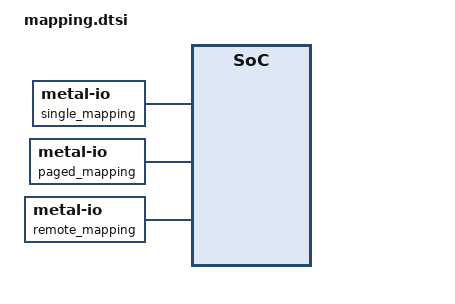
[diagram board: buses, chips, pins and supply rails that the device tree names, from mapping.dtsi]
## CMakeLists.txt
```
# Copyright 2026 Arm Limited and/or its affiliates <open-source-office@arm.com>
# SPDX-License-Identifier: Apache-2.0

cmake_minimum_required(VERSION 3.20.0)
find_package(Zephyr REQUIRED HINTS $ENV{ZEPHYR_BASE})
project(ipc_static_vrings)

target_include_directories(
  app PRIVATE "${ZEPHYR_BASE}/subsys/ipc/ipc_service/backends")
target_sources(app PRIVATE src/main.c src/mbox.c)
```

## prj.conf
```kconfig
# Copyright 2026 Arm Limited and/or its affiliates <open-source-office@arm.com>
# SPDX-License-Identifier: Apache-2.0

CONFIG_ZTEST=y
CONFIG_IPC_SERVICE=y
CONFIG_MBOX=y
CONFIG_IPC_SERVICE_STATIC_VRINGS_MEM_ALIGNMENT=64
CONFIG_HEAP_MEM_POOL_SIZE=16384
CONFIG_MAIN_STACK_SIZE=4096
```

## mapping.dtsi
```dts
/*
 * Copyright 2026 Arm Limited and/or its affiliates <open-source-office@arm.com>
 * SPDX-License-Identifier: Apache-2.0
 */

/ {
	test_mbox: mailbox {
		compatible = "vnd,mbox";
		#mbox-cells = <1>;
	};

	single_mapping: single-mapping {
		compatible = "zephyr,metal-io";
		region = <&mapped_memory>;
		/* Same cell as 0x90000000; must not sign-extend on 64-bit targets. */
		physmap = <(-1879048192)>;
	};

	paged_mapping: paged-mapping {
		compatible = "zephyr,metal-io";
		region = <&paged_memory>;
		physmap = <0x90000000 0xa0000000>;
		page-shift = <12>;
		mem-flags = <0x1234>;
	};

	remote_mapping: remote-mapping {
		compatible = "zephyr,metal-io";
		region = <&remote_memory>;
		physmap = <0x90000000>;
	};

	ordinary: ipc-ordinary {
		compatible = "zephyr,ipc-openamp-static-vrings";
		role = "host";
		memory-region = <&ordinary_memory>;
		mboxes = <&test_mbox 0>, <&test_mbox 1>;
		mbox-names = "tx", "rx";
	};

	mapped: ipc-mapped {
		compatible = "zephyr,ipc-openamp-static-vrings";
		role = "host";
		memory-region = <&single_mapping>;
		mboxes = <&test_mbox 2>, <&test_mbox 3>;
		mbox-names = "tx", "rx";
	};

	paged: ipc-paged {
		compatible = "zephyr,ipc-openamp-static-vrings";
		role = "host";
		memory-region = <&paged_mapping>;
		mboxes = <&test_mbox 4>, <&test_mbox 5>;
		mbox-names = "tx", "rx";
	};

	remote: ipc-remote {
		compatible = "zephyr,ipc-openamp-static-vrings";
		role = "remote";
		memory-region = <&remote_mapping>;
		mboxes = <&test_mbox 6>, <&test_mbox 7>;
		mbox-names = "tx", "rx";
	};
};
```

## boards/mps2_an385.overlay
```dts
/*
 * Copyright 2026 Arm Limited and/or its affiliates <open-source-office@arm.com>
 * SPDX-License-Identifier: Apache-2.0
 */

/ {
	/* Keep test storage below the temporary boot stack at the top of SRAM. */
	reserved-memory {
		ranges;
		#address-cells = <1>;
		#size-cells = <1>;

		ordinary_memory: memory@203f0000 {
			reg = <0x203f0000 0x2000>;
		};

		mapped_memory: memory@203f2000 {
			reg = <0x203f2000 0x2000>;
		};

		paged_memory: memory@203f4000 {
			reg = <0x203f4000 0x2000>;
		};

		remote_memory: memory@203f6000 {
			reg = <0x203f6000 0x2000>;
		};
	};
};

#include "../mapping.dtsi"
```

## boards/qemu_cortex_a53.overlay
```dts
/*
 * Copyright 2026 Arm Limited and/or its affiliates <open-source-office@arm.com>
 * SPDX-License-Identifier: Apache-2.0
 */

#include <zephyr/dt-bindings/memory-attr/memory-attr-arm64.h>

/ {
	/* Keep test storage below the temporary boot stack at the top of SRAM. */
	reserved-memory {
		ordinary_memory: memory@47ff0000 {
			compatible = "zephyr,memory-region";
			reg = <0 0x47ff0000 0 0x2000>;
			zephyr,memory-region = "IPC_ORDINARY";
			zephyr,memory-attr = <DT_MEM_ARM64_MMU_NORMAL_NC>;
		};

		mapped_memory: memory@47ff2000 {
			compatible = "zephyr,memory-region";
			reg = <0 0x47ff2000 0 0x2000>;
			zephyr,memory-region = "IPC_MAPPED";
			zephyr,memory-attr = <DT_MEM_ARM64_MMU_NORMAL_NC>;
		};

		paged_memory: memory@47ff4000 {
			compatible = "zephyr,memory-region";
			reg = <0 0x47ff4000 0 0x2000>;
			zephyr,memory-region = "IPC_PAGED";
			zephyr,memory-attr = <DT_MEM_ARM64_MMU_NORMAL_NC>;
		};

		remote_memory: memory@47ff6000 {
			compatible = "zephyr,memory-region";
			reg = <0 0x47ff6000 0 0x2000>;
			zephyr,memory-region = "IPC_REMOTE";
			zephyr,memory-attr = <DT_MEM_ARM64_MMU_NORMAL_NC>;
		};
	};
};

#include "../mapping.dtsi"
```

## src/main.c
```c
/*
 * Copyright 2026 Arm Limited and/or its affiliates <open-source-office@arm.com>
 * SPDX-License-Identifier: Apache-2.0
 */

#include <zephyr/init.h>
#include <zephyr/ipc/ipc_static_vrings.h>
#include <zephyr/ztest.h>

#include "ipc_rpmsg_static_vrings.h"

#define TEST_REGION_SIZE DT_REG_SIZE(DT_NODELABEL(ordinary_memory))

static const struct metal_io_dt_spec single = METAL_IO_DT_SPEC_GET(DT_NODELABEL(single_mapping));
static const struct metal_io_dt_spec paged = METAL_IO_DT_SPEC_GET(DT_NODELABEL(paged_mapping));
static const struct metal_io_dt_spec remote = METAL_IO_DT_SPEC_GET(DT_NODELABEL(remote_mapping));

static const uintptr_t region_addrs[] = {
	DT_REG_ADDR(DT_NODELABEL(ordinary_memory)),
	DT_REG_ADDR(DT_NODELABEL(mapped_memory)),
	DT_REG_ADDR(DT_NODELABEL(paged_memory)),
	DT_REG_ADDR(DT_NODELABEL(remote_memory)),
};

static int seed_status(void)
{
	for (size_t i = 0; i < ARRAY_SIZE(region_addrs); i++) {
		memset((void *)region_addrs[i], 0xa5, TEST_REGION_SIZE);
	}
	return 0;
}

/* Run before shared_memory_prepare(), including when reset is disabled. */
SYS_INIT(seed_status, PRE_KERNEL_1, 0);

static void *check_reset(void)
{
	for (size_t i = 0; i < ARRAY_SIZE(region_addrs); i++) {
		const uint8_t *memory = (const uint8_t *)region_addrs[i];
		bool reset = IS_ENABLED(CONFIG_IPC_SERVICE_BACKEND_RPMSG_SHMEM_RESET) && i < 3;

		for (size_t offset = 0; offset < TEST_REGION_SIZE; offset++) {
			uint8_t expected = reset && offset < VDEV_STATUS_SIZE ? 0 : 0xa5;

			zassert_equal(memory[offset], expected, "region %zu offset %zu", i, offset);
		}
	}
	return NULL;
}

static void check_descriptors(const struct device *dev, uintptr_t local,
			      const struct metal_io_dt_spec *mapping)
{
	unsigned int count = optimal_num_desc(TEST_REGION_SIZE, RPMSG_BUFFER_SIZE);
	uintptr_t buffers = local + VDEV_STATUS_SIZE;
	uintptr_t rx = buffers + VRING_COUNT * vq_ring_size(count, RPMSG_BUFFER_SIZE);
	uintptr_t tx = ROUND_UP(rx + vring_size(count, MEM_ALIGNMENT), MEM_ALIGNMENT);
	const struct vring_desc *desc = (const struct vring_desc *)tx;

	zassert_true(device_is_ready(dev));
	/* Reopening also checks that libmetal does not retain temporary physmaps. */
	for (size_t attempt = 0; attempt < 2; attempt++) {
		memset((void *)local, 0, TEST_REGION_SIZE);
		zassert_ok(ipc_service_open_instance(dev));
		for (size_t i = 0; i < count; i++) {
			size_t offset = VDEV_STATUS_SIZE + i * RPMSG_BUFFER_SIZE;
			metal_phys_addr_t expected = local + offset;

			if (mapping != NULL) {
				if (mapping->page_shift == -1) {
					expected = mapping->phys_map[0] + offset;
				} else {
					expected =
						mapping->phys_map[offset >> 12] + (offset & 0xfff);
				}
			}
			zassert_equal(desc[i].addr, expected, "descriptor %zu", i);
			zassert_equal(desc[i].len, RPMSG_BUFFER_SIZE);
		}
		zassert_ok(ipc_service_close_instance(dev));
	}
}

ZTEST(static_vrings, test_ordinary_backend)
{
	check_descriptors(DEVICE_DT_GET(DT_NODELABEL(ordinary)), region_addrs[0], NULL);
}

ZTEST(static_vrings, test_translated_backend)
{
	check_descriptors(DEVICE_DT_GET(DT_NODELABEL(mapped)), single.region_addr, &single);
}

ZTEST(static_vrings, test_paged_backend)
{
	check_descriptors(DEVICE_DT_GET(DT_NODELABEL(paged)), paged.region_addr, &paged);
}

static void configure_vrings(struct ipc_static_vrings *vr, const struct metal_io_dt_spec *io)
{
	memset(vr, 0, sizeof(*vr));
	vr->io = io;
	vr->status_reg_addr = io->region_addr;
	vr->shm_addr = io->region_addr + VDEV_STATUS_SIZE;
	vr->shm_size = io->region_size - VDEV_STATUS_SIZE;
	vr->vring_size = 1;
}

ZTEST(static_vrings, test_peer_translation)
{
	struct ipc_static_vrings host_vr;
	struct ipc_static_vrings remote_vr;
	const size_t offsets[] = {0, VDEV_STATUS_SIZE, 4095, 4096, TEST_REGION_SIZE - 1};

	configure_vrings(&host_vr, &single);
	configure_vrings(&remote_vr, &remote);
	zassert_ok(ipc_static_vrings_init(&host_vr, ROLE_HOST));
	zassert_ok(ipc_static_vrings_init(&remote_vr, ROLE_REMOTE));
	zassert_not_equal(single.region_addr, remote.region_addr);
	zassert_equal(host_vr.shm_io.mem_flags, 0);
	zassert_equal(host_vr.shm_io.page_mask, METAL_BAD_PHYS);

	for (size_t i = 0; i < ARRAY_SIZE(offsets); i++) {
		void *host_addr = (void *)(single.region_addr + offsets[i]);
		void *remote_addr = (void *)(remote.region_addr + offsets[i]);
		metal_phys_addr_t address = metal_io_virt_to_phys(&host_vr.shm_io, host_addr);

		zassert_equal(address, single.phys_map[0] + offsets[i]);
		zassert_equal(metal_io_virt_to_phys(&remote_vr.shm_io, remote_addr), address);
		zassert_equal_ptr(metal_io_phys_to_virt(&remote_vr.shm_io, address), remote_addr);
		zassert_equal_ptr(metal_io_phys_to_virt(&host_vr.shm_io, address), host_addr);
	}
	zassert_is_null(metal_io_phys_to_virt(&host_vr.shm_io, single.phys_map[0] - 1));
	zassert_equal(metal_io_phys(&host_vr.shm_io, TEST_REGION_SIZE), METAL_BAD_PHYS);
	zassert_ok(ipc_static_vrings_deinit(&remote_vr, ROLE_REMOTE));
	zassert_ok(ipc_static_vrings_deinit(&host_vr, ROLE_HOST));
}

ZTEST(static_vrings, test_page_boundaries)
{
	struct metal_io_dt_spec partial = paged;
	struct ipc_static_vrings vr;
	const size_t offsets[] = {0, VDEV_STATUS_SIZE, 4095, 4096, TEST_REGION_SIZE - 1};

	configure_vrings(&vr, &paged);
	zassert_ok(ipc_static_vrings_init(&vr, ROLE_HOST));
	zassert_equal(vr.shm_io.mem_flags, 0x1234);
	zassert_equal(vr.shm_io.page_shift, 12);
	for (size_t i = 0; i < ARRAY_SIZE(offsets); i++) {
		metal_phys_addr_t expected = paged.phys_map[offsets[i] / 4096] + offsets[i] % 4096;
		void *local = (void *)(paged.region_addr + offsets[i]);

		zassert_equal(metal_io_virt_to_phys(&vr.shm_io, local), expected);
		zassert_equal_ptr(metal_io_phys_to_virt(&vr.shm_io, expected), local);
	}
	zassert_is_null(metal_io_phys_to_virt(&vr.shm_io, paged.phys_map[0] + 4096));
	zassert_equal(metal_io_phys(&vr.shm_io, TEST_REGION_SIZE), METAL_BAD_PHYS);
	zassert_ok(ipc_static_vrings_deinit(&vr, ROLE_HOST));

	partial.region_size = 4097;
	configure_vrings(&vr, &partial);
	zassert_ok(ipc_static_vrings_init(&vr, ROLE_HOST));
	zassert_equal(metal_io_phys(&vr.shm_io, 4096), paged.phys_map[1]);
	zassert_equal(metal_io_phys(&vr.shm_io, 4097), METAL_BAD_PHYS);
	zassert_is_null(metal_io_phys_to_virt(&vr.shm_io, paged.phys_map[1] + 1));
	zassert_ok(ipc_static_vrings_deinit(&vr, ROLE_HOST));
}

ZTEST(static_vrings, test_invalid_mapping)
{
	struct metal_io_dt_spec io = paged;
	struct ipc_static_vrings vr;
	metal_phys_addr_t bad_map[] = {0x90000001, 0xa0000000};

	configure_vrings(&vr, &io);
	io.phys_map = NULL;
	zassert_equal(ipc_static_vrings_init(&vr, ROLE_HOST), -EINVAL);
	io = paged;
	io.region_size = 0;
	zassert_equal(ipc_static_vrings_init(&vr, ROLE_HOST), -EINVAL);
	io = paged;
	io.phys_map_size = 1;
	zassert_equal(ipc_static_vrings_init(&vr, ROLE_HOST), -EINVAL);
	io = paged;
	io.page_shift = sizeof(metal_phys_addr_t) * CHAR_BIT;
	zassert_equal(ipc_static_vrings_init(&vr, ROLE_HOST), -EINVAL);
	io.page_shift = -2;
	zassert_equal(ipc_static_vrings_init(&vr, ROLE_HOST), -EINVAL);
	io = paged;
	io.phys_map = bad_map;
	zassert_equal(ipc_static_vrings_init(&vr, ROLE_HOST), -EINVAL);
	io = single;
	io.phys_map_size = 2;
	zassert_equal(ipc_static_vrings_init(&vr, ROLE_HOST), -EINVAL);
	io = single;
	bad_map[0] = METAL_BAD_PHYS - 1;
	io.phys_map = bad_map;
	zassert_equal(ipc_static_vrings_init(&vr, ROLE_HOST), -EINVAL);
	io = single;
	io.region_addr = UINTPTR_MAX - 1;
	zassert_equal(ipc_static_vrings_init(&vr, ROLE_HOST), -EINVAL);
}

ZTEST(static_vrings, test_identity_address_width)
{
	struct ipc_static_vrings vr = {
		.shm_addr = IS_ENABLED(CONFIG_64BIT) ? (uintptr_t)UINT64_C(0x100000040)
						     : (uintptr_t)0x90000040,
		.shm_size = 4096,
		.vring_size = 1,
	};

	/* Initialising the vring metadata does not dereference these addresses. */
	zassert_ok(ipc_static_vrings_init(&vr, ROLE_HOST));
	zassert_equal_ptr(vr.shm_io.physmap, vr.shm_physmap);
	zassert_equal(metal_io_phys(&vr.shm_io, 64), vr.shm_addr + 64);
	zassert_equal_ptr(metal_io_phys_to_virt(&vr.shm_io, vr.shm_addr + 64),
			  (void *)(vr.shm_addr + 64));
	zassert_ok(ipc_static_vrings_deinit(&vr, ROLE_HOST));
}

ZTEST_SUITE(static_vrings, NULL, check_reset, NULL, NULL, NULL);
```

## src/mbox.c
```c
/*
 * Copyright 2026 Arm Limited and/or its affiliates <open-source-office@arm.com>
 * SPDX-License-Identifier: Apache-2.0
 */

#include <zephyr/drivers/mbox.h>

/* Descriptor tests do not deliver notifications to another processor. */
static int send(const struct device *dev, mbox_channel_id_t channel, const struct mbox_msg *msg)
{
	return 0;
}

static int register_callback(const struct device *dev, mbox_channel_id_t channel,
			     mbox_callback_t cb, void *user_data)
{
	return 0;
}

static int set_enabled(const struct device *dev, mbox_channel_id_t channel, bool enabled)
{
	return 0;
}

static DEVICE_API(mbox, test_mbox_api) = {
	.send = send,
	.register_callback = register_callback,
	.set_enabled = set_enabled,
};

DEVICE_DT_DEFINE(DT_NODELABEL(test_mbox), NULL, NULL, NULL, NULL, PRE_KERNEL_1, 0, &test_mbox_api);
```
